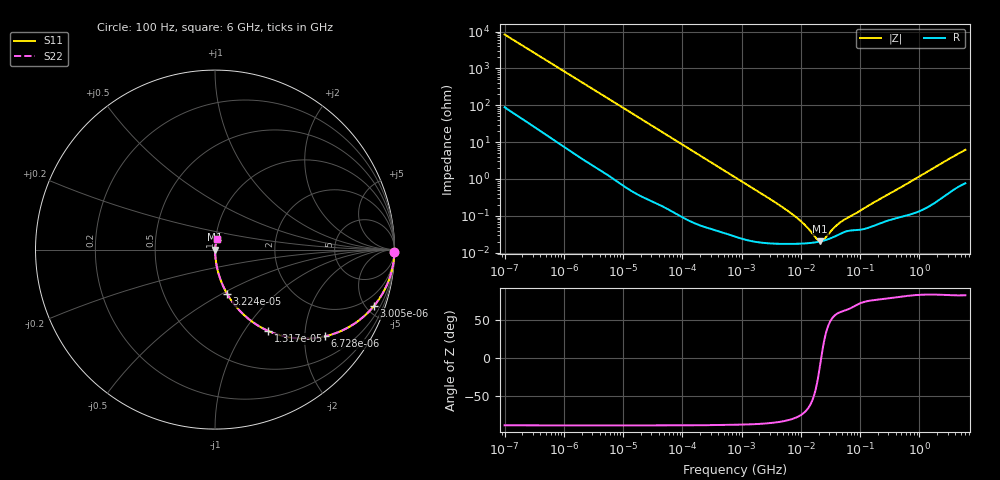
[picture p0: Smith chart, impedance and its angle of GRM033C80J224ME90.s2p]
!Murata Part Number: GRM033C80J224ME90
!These Parameters are Measured in Series Mode Connection
!Data Generated on Mar 30, 2021
!  o--ll--o
!Port1  Port2
!  o------o
!Operation Temp=25[degC], DC Bias Voltage=0[V]
!Freq. Start=100[Hz] Stop=6[GHz] 401[Steps]
# Hz S RI R 50
!Freq.(Hz) S11(Real) S11(Imag) S21(Real) S21(Imag) S12(Real) S12(Imag) S22(Real) S22(Imag)
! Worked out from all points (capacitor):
!   401 points, 100 Hz to 6 GHz, reference 50 ohm
!   read as one part in series: C = 191 nF near 109 Hz
!   lowest |Z| = 20.4 mohm at 21.28 MHz (marker M1)
!   series resonance near 22.11 MHz, so ESL is about 270 pH
!   S11 on the Smith chart (normalised r, x): 100 Hz: open; 3.005 kHz: 1.05, -5.64; 6.728 kHz: 1.02, -2.53; 13.17 kHz: 1.01, -1.30; 32.24 kHz: 1.00, -0.53; 6 GHz: 1.02, +0.12
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100  0.9997 -0.012  0.000273 0.012  0.000273 0.012  0.9997 -0.012
600  0.9943 -0.0709  0.00572 0.0709  0.00572 0.0709  0.9943 -0.0709
2008  0.9449 -0.2239  0.0551 0.2239  0.0551 0.2239  0.9449 -0.2239
3005  0.8863 -0.3133  0.1137 0.3133  0.1137 0.3133  0.8863 -0.3133
4496  0.7792 -0.4107  0.2208 0.4107  0.2208 0.4107  0.7792 -0.4107
6728  0.6146 -0.4827  0.3854 0.4827  0.3854 0.4827  0.6146 -0.4827
13169  0.2973 -0.4533  0.7027 0.4533  0.7027 0.4533  0.2973 -0.4533
20606  0.1489 -0.352  0.8511 0.352  0.8511 0.352  0.1489 -0.352
32244  0.0679 -0.2471  0.9321 0.2471  0.9321 0.2471  0.0679 -0.2471
40335  0.045 -0.2027  0.955 0.2027  0.955 0.2027  0.045 -0.2027
129199  0.00518 -0.0665  0.9948 0.0665  0.9948 0.0665  0.00518 -0.0665
774597  0.0004 -0.0113  0.9996 0.0113  0.9996 0.0113  0.0004 -0.0113
6353432  0.000175 -0.00127  0.9998 0.00127  0.9998 0.00127  0.000175 -0.00127
1.039699e7  0.000177 -0.000657  0.9998 0.000657  0.9998 0.000657  0.000177 -0.000657
1.555665e7  0.000186 -0.000284  0.9998 0.000284  0.9998 0.000284  0.000186 -0.000284
1.86079e7  0.000194 -0.000137  0.9998 0.000137  0.9998 0.000137  0.000194 -0.000137
2.128304e7  0.000202 -2.99e-05  0.9998 2.99e-05  0.9998 2.99e-05  0.000202 -2.99e-05
2.434276e7  0.000213 7.52e-05  0.9998 -7.52e-05  0.9998 -7.52e-05  0.000213 7.52e-05
3.64232e7  0.00027 0.000391  0.9997 -0.000391  0.9997 -0.000391  0.00027 0.000391
4.983056e7  0.000344 0.000633  0.9997 -0.000633  0.9997 -0.000633  0.000344 0.000633
3.124326e8  0.000777 0.00389  0.9992 -0.00389  0.9992 -0.00389  0.000777 0.00389
6e9  0.0113 0.0603  0.9887 -0.0603  0.9887 -0.0603  0.0113 0.0603
